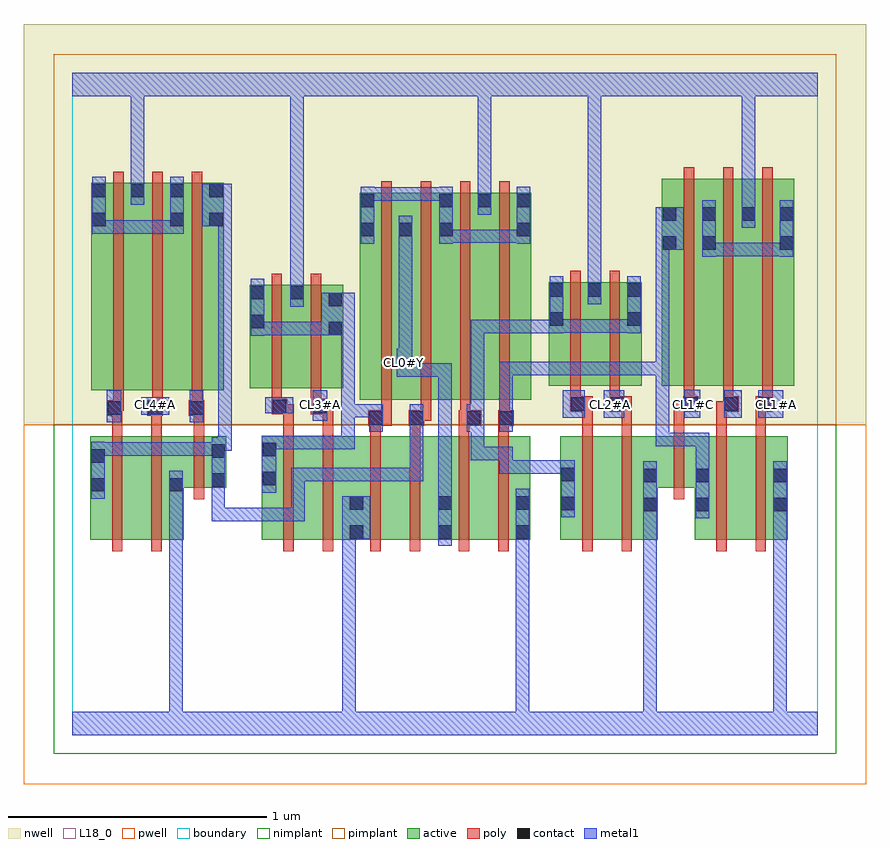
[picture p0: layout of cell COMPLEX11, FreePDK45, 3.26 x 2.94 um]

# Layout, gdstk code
import gdstk
lib = gdstk.Library(unit=1e-6, precision=1e-09)
def R(c, l, rs):  # rectangles x0, y0, x1, y1
    for r in rs: c.add(gdstk.rectangle(r[:2], r[2:], *l))
def A(c, l, x, y, w, h, nx, ny, dx, dy):  # array of equal rectangles
    R(c, l, [(x+i*dx, y+j*dy, x+i*dx+w, y+j*dy+h) for i in range(nx) for j in range(ny)])
active = (1, 0)
pwell = (2, 0)
nwell = (3, 0)
nimplant = (4, 0)
pimplant = (5, 0)
poly = (9, 0)
contact = (10, 0)
metal1 = (11, 0)
L18_0 = (18, 0)
boundary = (235, 0)

complex11 = lib.new_cell('COMPLEX11')
R(complex11, active, [(0.07,0.756,0.13,1.156), (0.07,0.756,0.25,1.156), (0.25,0.756,0.43,1.156), (0.732,0.756,0.792,1.156), (0.732,0.756,0.912,1.156), (0.912,0.756,1.128,1.156), (1.068,0.756,1.128,1.156), (1.068,0.756,1.248,1.156), (1.248,0.756,1.47,1.156), (1.41,0.756,1.47,1.156), (1.41,0.756,1.59,1.156), (1.59,0.756,1.77,1.156), (1.71,0.756,1.77,1.156), (1.886,0.756,1.946,1.156), (1.886,0.756,2.066,1.156), (2.066,0.756,2.262,1.156), (2.202,0.756,2.262,1.156), (2.404,0.756,2.584,1.156), (2.584,0.756,2.764,1.156), (2.704,0.756,2.764,1.156), (2.404,0.862,2.464,1.034), (0.37,0.884,0.43,1.028), (0.37,0.956,0.594,1.156), (0.534,0.956,0.594,1.156), (2.202,0.956,2.464,1.156), (1.11,1.296,1.318,2.096), (1.11,1.296,1.17,2.096), (1.258,1.296,1.318,2.096), (1.258,1.296,1.474,2.096), (1.414,1.296,1.622,2.096), (1.562,1.296,1.774,2.096), (1.714,1.296,1.774,2.096), (0.074,1.334,0.282,2.134), (0.074,1.334,0.134,2.134), (0.222,1.334,0.434,2.134), (0.374,1.334,0.586,2.134), (0.374,1.334,0.434,2.134), (0.526,1.334,0.586,2.134), (0.686,1.34,0.746,1.74), (0.686,1.34,0.898,1.74), (0.838,1.34,0.898,1.74), (0.838,1.34,1.046,1.74), (0.986,1.34,1.046,1.714), (1.84,1.35,1.9,1.75), (1.84,1.35,2.048,1.75), (1.988,1.35,2.2,1.75), (2.14,1.35,2.2,1.75), (2.278,1.35,2.338,2.044), (2.278,1.35,2.49,2.15), (2.43,1.35,2.49,2.044), (2.43,1.35,2.642,2.15), (2.582,1.35,2.79,2.15), (2.73,1.35,2.79,2.044), (2.582,1.498,2.642,2.15), (1.988,1.608,2.048,1.75), (0.222,1.686,0.282,2.134), (1.414,1.686,1.474,2.096), (1.562,1.686,1.622,2.096)])
R(complex11, pwell, [(-0.188,-0.188,3.068,1.2)])
R(complex11, nwell, [(-0.188,1.2,3.068,2.748)])
R(complex11, nimplant, [(-0.072,-0.072,2.952,1.2)])
R(complex11, pimplant, [(-0.072,1.2,2.952,2.632)])
A(complex11, poly, 1.194, 1.216, 0.04, 0.076, 4, 1, 0.152, 0)
A(complex11, poly, 1.194, 1.252, 0.04, 0.888, 4, 1, 0.152, 0)
A(complex11, poly, 0.158, 1.254, 0.04, 0.076, 3, 1, 0.152, 0)
A(complex11, poly, 2.362, 1.27, 0.04, 0.076, 3, 1, 0.152, 0)
A(complex11, poly, 0.158, 1.29, 0.04, 0.888, 3, 1, 0.152, 0)
A(complex11, poly, 2.362, 1.306, 0.04, 0.888, 3, 1, 0.152, 0)
R(complex11, poly, [(0.154,0.712,0.194,1.2), (0.306,0.712,0.346,1.2), (0.816,0.712,0.856,1.2), (0.968,0.712,1.008,1.2), (1.152,0.712,1.192,1.2), (1.304,0.712,1.344,1.2), (1.494,0.712,1.534,1.2), (1.646,0.712,1.686,1.2), (1.97,0.712,2.01,1.2), (2.122,0.712,2.162,1.2), (2.488,0.712,2.528,1.2), (2.64,0.712,2.68,1.2), (0.47,0.912,0.51,1.2), (2.324,0.912,2.364,1.2), (0.154,1.16,0.194,1.274), (0.306,1.16,0.346,1.274), (0.47,1.16,0.51,1.274), (0.816,1.16,0.856,1.28), (0.968,1.16,1.008,1.28), (1.152,1.16,1.192,1.236), (1.304,1.16,1.344,1.236), (1.494,1.16,1.534,1.236), (1.646,1.16,1.686,1.236), (1.97,1.16,2.01,1.29), (2.122,1.16,2.162,1.29), (2.324,1.16,2.364,1.29), (2.488,1.16,2.528,1.29), (2.64,1.16,2.68,1.29), (1.144,1.196,1.234,1.256), (1.152,1.196,1.192,1.236), (1.152,1.196,1.192,1.236), (1.3,1.196,1.36,1.256), (1.494,1.196,1.58,1.256), (1.646,1.196,1.686,1.236), (1.646,1.196,1.686,1.236), (1.646,1.196,1.706,1.256), (1.32,1.216,1.36,1.256), (1.32,1.216,1.386,1.256), (1.498,1.216,1.538,1.256), (1.498,1.216,1.538,1.256), (0.134,1.234,0.194,1.294), (0.29,1.234,0.35,1.294), (0.45,1.234,0.51,1.294), (0.47,1.234,0.51,1.274), (0.47,1.234,0.51,1.274), (0.77,1.24,0.83,1.3), (0.79,1.24,0.83,1.28), (0.79,1.24,0.856,1.28), (0.922,1.24,0.986,1.3), (0.946,1.24,0.986,1.28), (0.946,1.24,1.008,1.28), (1.924,1.25,2.01,1.31), (2.076,1.25,2.162,1.31), (2.324,1.25,2.4,1.29), (2.36,1.25,2.4,1.29), (2.36,1.25,2.42,1.31), (2.488,1.25,2.554,1.29), (2.514,1.25,2.554,1.29), (2.514,1.25,2.574,1.31), (2.64,1.25,2.706,1.31), (0.154,1.254,0.194,1.294), (0.154,1.254,0.198,1.294), (0.31,1.254,0.35,1.294), (0.31,1.254,0.35,1.294), (0.77,1.26,0.81,1.336), (0.922,1.26,0.962,1.336), (1.924,1.27,1.964,1.346), (1.924,1.27,1.964,1.31), (1.924,1.27,1.964,1.31), (2.076,1.27,2.116,1.346), (2.076,1.27,2.116,1.31), (2.076,1.27,2.116,1.31), (2.666,1.27,2.706,1.31), (2.666,1.27,2.706,1.31), (0.77,1.296,0.81,1.784), (0.922,1.296,0.962,1.784), (1.924,1.306,1.964,1.794), (2.076,1.306,2.116,1.794)])
A(complex11, contact, 2.282, 1.988, 0.052, 0.052, 3, 1, 0.152, 0)
A(complex11, contact, 0.226, 2.078, 0.052, 0.052, 3, 1, 0.152, 0)
R(complex11, contact, [(1.072,0.76,1.124,0.812), (1.414,0.76,1.466,0.812), (1.714,0.76,1.766,0.812), (2.206,0.866,2.258,0.918), (2.408,0.866,2.46,0.918), (2.708,0.866,2.76,0.918), (1.89,0.87,1.942,0.922), (1.072,0.872,1.124,0.924), (1.414,0.872,1.466,0.924), (1.714,0.872,1.766,0.924), (0.074,0.942,0.126,0.994), (0.374,0.942,0.426,0.994), (0.538,0.96,0.59,1.012), (0.736,0.966,0.788,1.018), (2.206,0.978,2.258,1.03), (2.408,0.978,2.46,1.03), (2.708,0.978,2.76,1.03), (1.89,0.982,1.942,1.034), (0.074,1.054,0.126,1.106), (0.538,1.072,0.59,1.124), (0.736,1.078,0.788,1.13), (1.148,1.2,1.2,1.252), (1.304,1.2,1.356,1.252), (1.524,1.2,1.576,1.252), (1.65,1.2,1.702,1.252), (0.138,1.238,0.19,1.29), (0.294,1.238,0.346,1.29), (0.454,1.238,0.506,1.29), (0.774,1.244,0.826,1.296), (0.93,1.244,0.982,1.296), (1.928,1.254,1.98,1.306), (2.08,1.254,2.132,1.306), (2.364,1.254,2.416,1.306), (2.518,1.254,2.57,1.306), (2.65,1.254,2.702,1.306), (0.99,1.546,1.042,1.598), (0.69,1.572,0.742,1.624), (1.844,1.582,1.896,1.634), (2.144,1.582,2.196,1.634), (0.99,1.658,1.042,1.71), (0.69,1.684,0.742,1.736), (0.842,1.684,0.894,1.736), (1.844,1.694,1.896,1.746), (1.992,1.694,2.044,1.746), (2.144,1.694,2.196,1.746), (2.282,1.876,2.334,1.928), (2.434,1.876,2.486,1.928), (2.734,1.876,2.786,1.928), (1.114,1.928,1.166,1.98), (1.262,1.928,1.314,1.98), (1.418,1.928,1.47,1.98), (1.718,1.928,1.77,1.98), (0.078,1.966,0.13,2.018), (0.378,1.966,0.43,2.018), (0.53,1.966,0.582,2.018), (2.734,1.988,2.786,2.04), (1.114,2.04,1.166,2.092), (1.418,2.04,1.47,2.092), (1.566,2.04,1.618,2.092), (1.718,2.04,1.77,2.092), (0.078,2.078,0.13,2.13)])
R(complex11, metal1, [(0,0,2.88,0.092), (0.374,0.04,0.426,0.092), (0.374,0.04,0.426,0.092), (0.374,0.04,0.426,0.092), (0.374,0.04,0.426,0.092), (0.374,0.04,0.426,0.092), (0.374,0.04,0.426,0.092), (0.374,0.04,0.426,0.092), (0.374,0.04,0.426,0.092), (0.374,0.04,0.426,0.966), (1.044,0.04,1.096,0.092), (1.044,0.04,1.096,0.092), (1.044,0.04,1.096,0.092), (1.044,0.04,1.096,0.092), (1.044,0.04,1.096,0.092), (1.044,0.04,1.096,0.092), (1.044,0.04,1.096,0.092), (1.044,0.04,1.096,0.092), (1.044,0.04,1.096,0.092), (1.044,0.04,1.096,0.092), (1.044,0.04,1.096,0.092), (1.044,0.04,1.096,0.092), (1.044,0.04,1.096,0.812), (1.714,0.04,1.766,0.092), (1.714,0.04,1.766,0.092), (1.714,0.04,1.766,0.092), (1.714,0.04,1.766,0.092), (1.714,0.04,1.766,0.092), (1.714,0.04,1.766,0.092), (1.714,0.04,1.766,0.092), (1.714,0.04,1.766,0.092), (1.714,0.04,1.766,0.784), (2.206,0.04,2.258,0.092), (2.206,0.04,2.258,0.092), (2.206,0.04,2.258,0.092), (2.206,0.04,2.258,0.092), (2.206,0.04,2.258,0.092), (2.206,0.04,2.258,0.092), (2.206,0.04,2.258,0.092), (2.206,0.04,2.258,0.092), (2.206,0.04,2.258,0.092), (2.206,0.04,2.258,0.092), (2.206,0.04,2.258,0.092), (2.206,0.04,2.258,0.092), (2.206,0.04,2.258,0.89), (2.708,0.04,2.76,0.092), (2.708,0.04,2.76,0.092), (2.708,0.04,2.76,0.092), (2.708,0.04,2.76,0.092), (2.708,0.04,2.76,0.092), (2.708,0.04,2.76,0.092), (2.708,0.04,2.76,0.092), (2.708,0.04,2.76,0.092), (2.708,0.04,2.76,0.092), (2.708,0.04,2.76,0.092), (2.708,0.04,2.76,0.89), (1.414,0.732,1.466,0.952), (1.714,0.732,1.766,0.952), (1.714,0.732,1.766,0.784), (1.714,0.732,1.766,0.784), (1.714,0.732,1.766,0.784), (1.714,0.732,1.766,0.784), (1.044,0.76,1.152,0.924), (0.538,0.828,0.59,0.88), (0.538,0.828,0.726,0.88), (0.538,0.828,0.59,0.984), (0.674,0.828,0.726,0.88), (0.674,0.828,0.726,0.88), (0.674,0.828,0.726,0.88), (0.674,0.828,0.898,0.88), (0.846,0.828,0.898,0.88), (0.846,0.828,0.898,1.034), (2.206,0.838,2.258,1.058), (2.408,0.838,2.46,1.058), (2.708,0.838,2.76,1.058), (2.708,0.838,2.76,0.89), (2.708,0.838,2.76,0.89), (1.89,0.842,1.942,1.062), (1.414,0.9,1.466,1.438), (0.074,0.914,0.126,1.134), (0.374,0.914,0.426,0.966), (0.374,0.914,0.426,0.966), (0.374,0.914,0.426,0.966), (0.374,0.914,0.426,0.966), (0.374,0.914,0.426,1.022), (0.538,0.932,0.59,1.152), (0.732,0.938,0.788,1.158), (0.846,0.982,0.898,1.034), (0.846,0.982,0.898,1.034), (0.846,0.982,0.898,1.034), (0.846,0.982,1.09,1.034), (1.038,0.982,1.09,1.034), (1.038,0.982,1.096,1.034), (1.044,0.982,1.096,1.034), (1.044,0.982,1.202,1.034), (1.15,0.982,1.202,1.034), (1.15,0.982,1.356,1.034), (1.304,0.982,1.356,1.034), (1.304,0.982,1.356,1.224), (2.408,1.006,2.46,1.168), (1.65,1.01,1.702,1.062), (1.65,1.01,1.942,1.062), (1.65,1.01,1.702,1.114), (1.54,1.062,1.702,1.114), (1.54,1.062,1.592,1.224), (1.65,1.062,1.702,1.114), (1.65,1.062,1.702,1.114), (1.65,1.062,1.702,1.114), (0.074,1.08,0.126,1.132), (0.074,1.08,0.126,1.132), (0.074,1.08,0.286,1.132), (0.234,1.08,0.286,1.132), (0.234,1.08,0.396,1.132), (0.344,1.08,0.396,1.132), (0.344,1.08,0.396,1.132), (0.344,1.08,0.396,1.132), (0.344,1.08,0.59,1.132), (0.538,1.08,0.59,1.132), (0.538,1.08,0.59,1.132), (0.538,1.1,0.59,1.152), (0.538,1.1,0.616,1.152), (0.564,1.1,0.616,2.018), (0.732,1.106,0.784,1.158), (0.732,1.106,0.784,1.158), (0.732,1.106,0.784,1.158), (0.732,1.106,0.784,1.158), (0.732,1.106,0.904,1.158), (0.852,1.106,0.904,1.158), (0.852,1.106,0.904,1.158), (0.852,1.106,0.904,1.158), (0.852,1.106,1.092,1.158), (1.04,1.106,1.092,1.158), (1.04,1.106,1.092,1.28), (2.254,1.116,2.306,1.168), (2.254,1.116,2.306,1.168), (2.254,1.116,2.306,1.168), (2.254,1.116,2.46,1.168), (2.254,1.116,2.306,1.444), (2.408,1.116,2.46,1.168), (1.148,1.172,1.2,1.28), (1.304,1.172,1.356,1.224), (1.304,1.172,1.356,1.224), (1.304,1.172,1.356,1.28), (1.524,1.172,1.576,1.28), (1.524,1.172,1.592,1.224), (1.54,1.172,1.592,1.606), (1.65,1.172,1.702,1.28), (0.134,1.21,0.19,1.334), (0.454,1.21,0.506,1.334), (0.93,1.216,0.986,1.334), (1.894,1.226,1.98,1.334), (2.054,1.226,2.132,1.334), (2.364,1.226,2.426,1.336), (2.518,1.226,2.586,1.334), (2.65,1.226,2.746,1.334), (1.04,1.228,1.092,1.28), (1.04,1.228,1.096,1.28), (1.04,1.228,1.092,1.598), (1.044,1.228,1.096,1.28), (1.044,1.228,1.2,1.28), (1.65,1.228,1.702,1.28), (1.65,1.228,1.702,1.444), (0.266,1.238,0.374,1.306), (0.746,1.244,0.854,1.306), (1.254,1.386,1.314,1.494), (1.262,1.386,1.466,1.438), (1.414,1.386,1.466,1.438), (1.414,1.386,1.466,1.438), (1.414,1.386,1.466,1.438), (1.414,1.386,1.466,1.438), (1.414,1.386,1.466,1.438), (1.65,1.392,1.934,1.444), (1.882,1.392,1.934,1.444), (1.882,1.392,1.934,1.444), (1.882,1.392,1.934,1.444), (1.882,1.392,2.044,1.444), (1.992,1.392,2.044,1.444), (1.992,1.392,2.044,1.444), (1.992,1.392,2.044,1.444), (1.992,1.392,2.154,1.444), (2.102,1.392,2.154,1.444), (2.102,1.392,2.306,1.444), (2.254,1.392,2.306,1.444), (2.254,1.392,2.306,1.928), (1.262,1.442,1.314,1.952), (0.69,1.544,0.742,1.764), (0.69,1.546,0.742,1.598), (0.69,1.546,0.742,1.598), (0.69,1.546,0.904,1.598), (0.852,1.546,0.904,1.598), (0.852,1.546,0.904,1.598), (0.852,1.546,0.904,1.598), (0.852,1.546,1.014,1.598), (0.962,1.546,1.092,1.71), (1.54,1.554,1.592,1.606), (1.54,1.554,1.592,1.606), (1.54,1.554,1.592,1.606), (1.54,1.554,1.786,1.606), (1.734,1.554,1.786,1.606), (1.734,1.554,1.786,1.606), (1.734,1.554,1.786,1.606), (1.734,1.554,1.896,1.606), (1.844,1.554,1.896,1.774), (2.144,1.554,2.196,1.774), (1.844,1.556,1.896,1.608), (1.844,1.556,1.896,1.608), (1.844,1.556,2.044,1.608), (1.992,1.556,2.044,1.608), (1.992,1.556,2.196,1.608), (2.144,1.556,2.196,1.608), (2.144,1.556,2.196,1.608), (0.842,1.656,0.894,1.764), (1.992,1.666,2.044,1.774), (0.842,1.712,0.894,1.764), (0.842,1.712,0.894,1.764), (0.842,1.712,0.894,1.764), (0.842,1.712,0.894,1.764), (0.842,1.712,0.894,2.52), (1.992,1.722,2.044,1.774), (1.992,1.722,2.044,1.774), (1.992,1.722,2.044,1.774), (1.992,1.722,2.044,1.774), (1.992,1.722,2.044,2.52), (2.434,1.848,2.486,2.068), (2.734,1.848,2.786,2.068), (2.434,1.85,2.486,1.902), (2.434,1.85,2.486,1.902), (2.434,1.85,2.596,1.902), (2.544,1.85,2.786,1.902), (2.544,1.85,2.596,1.902), (2.544,1.85,2.596,1.902), (2.544,1.85,2.596,1.902), (2.254,1.876,2.362,2.04), (1.114,1.9,1.166,2.12), (1.262,1.9,1.314,2.008), (1.418,1.9,1.47,2.12), (1.718,1.9,1.77,2.12), (1.418,1.902,1.592,1.954), (1.54,1.902,1.592,1.954), (1.54,1.902,1.592,1.954), (1.54,1.902,1.592,1.954), (1.54,1.902,1.77,1.954), (1.718,1.902,1.77,1.954), (1.718,1.902,1.77,1.954), (0.078,1.938,0.13,2.158), (0.078,1.938,0.13,1.99), (0.078,1.938,0.13,1.99), (0.078,1.938,0.24,1.99), (0.188,1.938,0.24,1.99), (0.188,1.938,0.316,1.99), (0.264,1.938,0.316,1.99), (0.264,1.938,0.43,1.99), (0.378,1.938,0.43,2.158), (2.586,1.96,2.638,2.068), (0.502,1.966,0.616,2.13), (0.564,1.966,0.616,2.018), (0.564,1.966,0.616,2.018), (1.566,2.012,1.618,2.12), (2.586,2.016,2.638,2.068), (2.586,2.016,2.638,2.068), (2.586,2.016,2.638,2.52), (0.226,2.05,0.278,2.158), (1.114,2.066,1.202,2.118), (1.15,2.066,1.202,2.118), (1.15,2.066,1.312,2.118), (1.26,2.066,1.312,2.118), (1.26,2.066,1.312,2.118), (1.26,2.066,1.312,2.118), (1.26,2.066,1.47,2.118), (1.566,2.068,1.618,2.12), (1.566,2.068,1.618,2.12), (1.566,2.068,1.618,2.12), (1.566,2.068,1.618,2.12), (1.566,2.068,1.618,2.12), (1.566,2.068,1.618,2.12), (1.566,2.068,1.618,2.52), (0.226,2.106,0.278,2.158), (0.226,2.106,0.278,2.158), (0.226,2.106,0.278,2.158), (0.226,2.106,0.278,2.158), (0.226,2.106,0.278,2.158), (0.226,2.106,0.278,2.158), (0.226,2.106,0.278,2.158), (0.226,2.106,0.278,2.158), (0.226,2.106,0.278,2.52), (0,2.468,2.88,2.56), (0.842,2.468,0.894,2.52), (0.842,2.468,0.894,2.52), (0.842,2.468,0.894,2.52), (0.842,2.468,0.894,2.52), (0.842,2.468,0.894,2.52), (0.842,2.468,0.894,2.52), (0.842,2.468,0.894,2.52), (0.842,2.468,0.894,2.52), (0.842,2.468,0.894,2.52), (0.842,2.468,0.894,2.52), (0.842,2.468,0.894,2.52), (0.842,2.468,0.894,2.52), (1.566,2.468,1.618,2.52), (1.566,2.468,1.618,2.52), (1.992,2.468,2.044,2.52), (1.992,2.468,2.044,2.52), (1.992,2.468,2.044,2.52), (1.992,2.468,2.044,2.52), (1.992,2.468,2.044,2.52), (1.992,2.468,2.044,2.52), (1.992,2.468,2.044,2.52), (1.992,2.468,2.044,2.52), (1.992,2.468,2.044,2.52), (1.992,2.468,2.044,2.52), (1.992,2.468,2.044,2.52), (1.992,2.468,2.044,2.52), (2.586,2.468,2.638,2.52), (2.586,2.468,2.638,2.52), (2.586,2.468,2.638,2.52), (2.586,2.468,2.638,2.52), (2.586,2.468,2.638,2.52), (2.586,2.468,2.638,2.52)])
A(complex11, L18_0, 0.134, 1.254, 0.052, 0.052, 3, 1, 0.16, 0)
A(complex11, L18_0, 2.374, 1.254, 0.052, 0.052, 3, 1, 0.16, 0)
R(complex11, L18_0, [(0,0,2.88,0.092), (0.374,0.04,0.426,0.092), (0.374,0.04,0.426,0.092), (0.374,0.04,0.426,0.092), (0.374,0.04,0.426,0.092), (0.374,0.04,0.426,0.092), (0.374,0.04,0.426,0.092), (0.374,0.04,0.426,0.092), (0.374,0.04,0.426,0.092), (0.374,0.04,0.426,0.966), (1.044,0.04,1.096,0.092), (1.044,0.04,1.096,0.092), (1.044,0.04,1.096,0.092), (1.044,0.04,1.096,0.092), (1.044,0.04,1.096,0.092), (1.044,0.04,1.096,0.092), (1.044,0.04,1.096,0.092), (1.044,0.04,1.096,0.092), (1.044,0.04,1.096,0.092), (1.044,0.04,1.096,0.092), (1.044,0.04,1.096,0.092), (1.044,0.04,1.096,0.092), (1.044,0.04,1.096,0.812), (1.714,0.04,1.766,0.092), (1.714,0.04,1.766,0.092), (1.714,0.04,1.766,0.092), (1.714,0.04,1.766,0.092), (1.714,0.04,1.766,0.092), (1.714,0.04,1.766,0.092), (1.714,0.04,1.766,0.092), (1.714,0.04,1.766,0.092), (1.714,0.04,1.766,0.784), (2.206,0.04,2.258,0.092), (2.206,0.04,2.258,0.092), (2.206,0.04,2.258,0.092), (2.206,0.04,2.258,0.092), (2.206,0.04,2.258,0.092), (2.206,0.04,2.258,0.092), (2.206,0.04,2.258,0.092), (2.206,0.04,2.258,0.092), (2.206,0.04,2.258,0.092), (2.206,0.04,2.258,0.092), (2.206,0.04,2.258,0.092), (2.206,0.04,2.258,0.092), (2.206,0.04,2.258,0.89), (2.708,0.04,2.76,0.092), (2.708,0.04,2.76,0.092), (2.708,0.04,2.76,0.092), (2.708,0.04,2.76,0.092), (2.708,0.04,2.76,0.092), (2.708,0.04,2.76,0.092), (2.708,0.04,2.76,0.092), (2.708,0.04,2.76,0.092), (2.708,0.04,2.76,0.092), (2.708,0.04,2.76,0.092), (2.708,0.04,2.76,0.89), (1.414,0.732,1.466,0.952), (1.714,0.732,1.766,0.784), (1.714,0.732,1.766,0.784), (1.714,0.732,1.766,0.784), (1.714,0.732,1.766,0.784), (1.714,0.732,1.766,0.952), (1.044,0.76,1.152,0.924), (2.206,0.838,2.258,1.058), (2.708,0.838,2.76,0.89), (2.708,0.838,2.76,0.89), (2.708,0.838,2.76,1.058), (1.414,0.9,1.466,1.438), (0.374,0.914,0.426,1.022), (0.374,0.914,0.426,0.966), (0.374,0.914,0.426,0.966), (0.374,0.914,0.426,0.966), (0.374,0.914,0.426,0.966), (0.134,1.21,0.19,1.334), (0.454,1.21,0.506,1.334), (0.93,1.216,0.986,1.334), (1.894,1.226,1.98,1.334), (2.054,1.226,2.132,1.334), (2.364,1.226,2.426,1.336), (2.518,1.226,2.586,1.334), (2.65,1.226,2.746,1.334), (0.266,1.238,0.374,1.306), (0.746,1.244,0.854,1.306), (0.774,1.254,0.826,1.306), (0.934,1.254,0.986,1.306), (1.894,1.254,1.946,1.306), (2.054,1.254,2.106,1.306), (1.254,1.386,1.314,1.494), (1.262,1.386,1.466,1.438), (1.414,1.386,1.466,1.438), (1.414,1.386,1.466,1.438), (1.414,1.386,1.466,1.438), (1.414,1.386,1.466,1.438), (1.414,1.386,1.466,1.438), (1.254,1.414,1.306,1.466), (1.262,1.442,1.314,1.952), (0.842,1.656,0.894,1.764), (1.992,1.666,2.044,1.774), (0.842,1.712,0.894,1.764), (0.842,1.712,0.894,1.764), (0.842,1.712,0.894,1.764), (0.842,1.712,0.894,1.764), (0.842,1.712,0.894,2.52), (1.992,1.722,2.044,1.774), (1.992,1.722,2.044,1.774), (1.992,1.722,2.044,1.774), (1.992,1.722,2.044,1.774), (1.992,1.722,2.044,2.52), (1.262,1.9,1.314,2.008), (2.586,1.96,2.638,2.068), (1.566,2.012,1.618,2.12), (2.586,2.016,2.638,2.068), (2.586,2.016,2.638,2.068), (2.586,2.016,2.638,2.52), (0.226,2.05,0.278,2.158), (1.566,2.068,1.618,2.12), (1.566,2.068,1.618,2.12), (1.566,2.068,1.618,2.12), (1.566,2.068,1.618,2.12), (1.566,2.068,1.618,2.12), (1.566,2.068,1.618,2.12), (1.566,2.068,1.618,2.52), (0.226,2.106,0.278,2.158), (0.226,2.106,0.278,2.158), (0.226,2.106,0.278,2.158), (0.226,2.106,0.278,2.158), (0.226,2.106,0.278,2.158), (0.226,2.106,0.278,2.158), (0.226,2.106,0.278,2.158), (0.226,2.106,0.278,2.158), (0.226,2.106,0.278,2.52), (0,2.468,2.88,2.56), (0.842,2.468,0.894,2.52), (0.842,2.468,0.894,2.52), (0.842,2.468,0.894,2.52), (0.842,2.468,0.894,2.52), (0.842,2.468,0.894,2.52), (0.842,2.468,0.894,2.52), (0.842,2.468,0.894,2.52), (0.842,2.468,0.894,2.52), (0.842,2.468,0.894,2.52), (0.842,2.468,0.894,2.52), (0.842,2.468,0.894,2.52), (0.842,2.468,0.894,2.52), (1.566,2.468,1.618,2.52), (1.566,2.468,1.618,2.52), (1.992,2.468,2.044,2.52), (1.992,2.468,2.044,2.52), (1.992,2.468,2.044,2.52), (1.992,2.468,2.044,2.52), (1.992,2.468,2.044,2.52), (1.992,2.468,2.044,2.52), (1.992,2.468,2.044,2.52), (1.992,2.468,2.044,2.52), (1.992,2.468,2.044,2.52), (1.992,2.468,2.044,2.52), (1.992,2.468,2.044,2.52), (1.992,2.468,2.044,2.52), (2.586,2.468,2.638,2.52), (2.586,2.468,2.638,2.52), (2.586,2.468,2.638,2.52), (2.586,2.468,2.638,2.52), (2.586,2.468,2.638,2.52), (2.586,2.468,2.638,2.52)])
R(complex11, boundary, [(0,0,2.88,2.56)])
complex11.add(gdstk.Label('CL0#Y', (1.28,1.44), layer=11, texttype=0))
complex11.add(gdstk.Label('CL1#A', (2.72,1.28), layer=11, texttype=0))
complex11.add(gdstk.Label('CL1#B', (2.56,1.28), layer=11, texttype=0))
complex11.add(gdstk.Label('CL1#C', (2.4,1.28), layer=11, texttype=0))
complex11.add(gdstk.Label('CL2#A', (2.08,1.28), layer=11, texttype=0))
complex11.add(gdstk.Label('CL2#B', (1.92,1.28), layer=11, texttype=0))
complex11.add(gdstk.Label('CL3#A', (0.96,1.28), layer=11, texttype=0))
complex11.add(gdstk.Label('CL3#B', (0.8,1.28), layer=11, texttype=0))
complex11.add(gdstk.Label('CL4#A', (0.32,1.28), layer=11, texttype=0))
complex11.add(gdstk.Label('CL4#B', (0.16,1.28), layer=11, texttype=0))
complex11.add(gdstk.Label('CL4#C', (0.48,1.28), layer=11, texttype=0))

lib.write_gds('COMPLEX11.gds')
